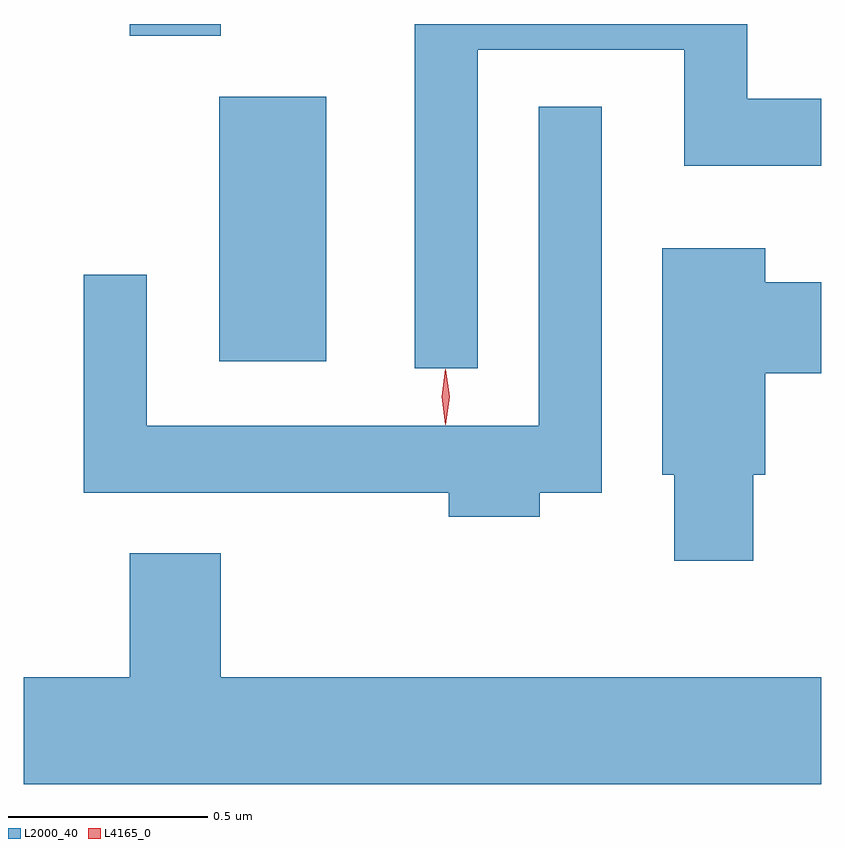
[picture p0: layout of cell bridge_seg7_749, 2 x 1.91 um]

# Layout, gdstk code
import gdstk
lib = gdstk.Library(unit=1e-6, precision=1e-09)
def R(c, l, rs):  # rectangles x0, y0, x1, y1
    for r in rs: c.add(gdstk.rectangle(r[:2], r[2:], *l))
def P(c, l, *ps):  # polygons
    for p in ps: c.add(gdstk.Polygon(p, *l))
L2000_40 = (2000, 40)
L4165_0 = (4165, 0)

bridge_seg7_749 = lib.new_cell('bridge_seg7_749')
R(bridge_seg7_749, L2000_40, [(592.666,1748.676,592.934,1749.339), (592.441,1749.491,592.669,1749.521)])
P(bridge_seg7_749, L2000_40, [(593.314,1749.456),(593.831,1749.456),(593.831,1749.166),(594.175,1749.166),(594.175,1749.334),(593.989,1749.334),(593.989,1749.521),(593.156,1749.521),(593.156,1748.658),(593.314,1748.658)],
  [(593.469,1748.346),(593.624,1748.346),(593.624,1749.313),(593.466,1749.313),(593.466,1748.514),(592.484,1748.514),(592.484,1748.893),(592.326,1748.893),(592.326,1748.346),(593.241,1748.346),(593.241,1748.286),(593.469,1748.286)],
  [(594.004,1748.391),(594.034,1748.391),(594.034,1748.646),(594.175,1748.646),(594.175,1748.874),(594.034,1748.874),(594.034,1748.959),(593.776,1748.959),(593.776,1748.391),(593.806,1748.391),(593.806,1748.176),(594.004,1748.176)],
  [(594.175,1747.884),(592.669,1747.884),(592.669,1748.194),(592.441,1748.194),(592.441,1747.884),(592.175,1747.884),(592.175,1747.616),(594.175,1747.616)])
P(bridge_seg7_749, L4165_0, [(593.232,1748.517),(593.223,1748.587),(593.232,1748.656),(593.233,1748.656),(593.233,1748.656),(593.243,1748.587),(593.233,1748.517),(593.233,1748.517)])

lib.write_gds('bridge_seg7_749.gds')
